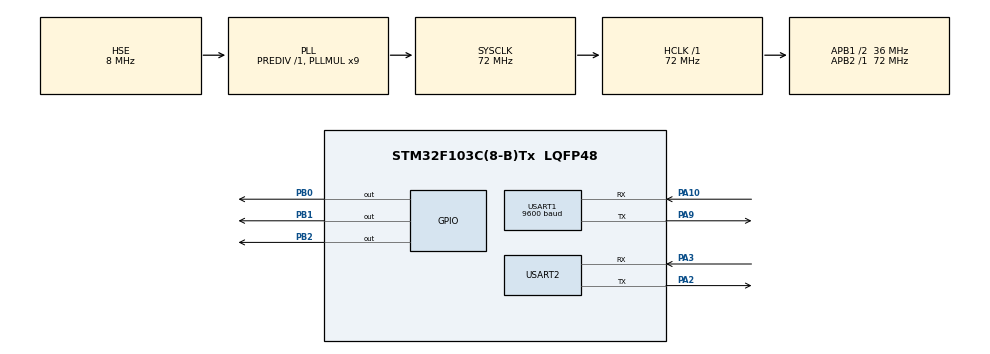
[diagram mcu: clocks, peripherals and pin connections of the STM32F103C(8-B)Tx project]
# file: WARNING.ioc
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Mcu.Family=STM32F1
Mcu.Name=STM32F103C(8-B)Tx
Mcu.Package=LQFP48
NVIC.PriorityGroup=NVIC_PRIORITYGROUP_4
PA10.Mode=Asynchronous
PA10.Signal=USART1_RX
PA13.Mode=Serial_Wire
PA13.Signal=SYS_JTMS-SWDIO
PA14.Mode=Serial_Wire
PA14.Signal=SYS_JTCK-SWCLK
PA2.Mode=Asynchronous
PA2.Signal=USART2_TX
PA3.Mode=Asynchronous
PA3.Signal=USART2_RX
PA9.Mode=Asynchronous
PA9.Signal=USART1_TX
PB0.Signal=GPIO_Output
PB1.Signal=GPIO_Output
PB2.Signal=GPIO_Output
PD0-OSC_IN.Mode=HSE-External-Oscillator
PD0-OSC_IN.Signal=RCC_OSC_IN
PD1-OSC_OUT.Mode=HSE-External-Oscillator
PD1-OSC_OUT.Signal=RCC_OSC_OUT
ProjectManager.HeapSize=0x200
ProjectManager.StackSize=0x400
ProjectManager.TargetToolchain=MDK-ARM V5.32
RCC.AHBFreq_Value=72000000
RCC.APB1CLKDivider=RCC_HCLK_DIV2
RCC.APB1Freq_Value=36000000
RCC.APB1TimFreq_Value=72000000
RCC.APB2Freq_Value=72000000
RCC.APB2TimFreq_Value=72000000
RCC.HCLKFreq_Value=72000000
RCC.PLLMUL=RCC_PLL_MUL9
RCC.PLLSourceVirtual=RCC_PLLSOURCE_HSE
RCC.SYSCLKFreq_VALUE=72000000
RCC.SYSCLKSource=RCC_SYSCLKSOURCE_PLLCLK
RCC.USBFreq_Value=72000000
USART1.BaudRate=9600
USART1.VirtualMode=VM_ASYNC
USART2.VirtualMode=VM_ASYNC
board=custom

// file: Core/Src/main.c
/* USER CODE BEGIN Header */
/**
  ******************************************************************************
  * @file           : main.c
  * @brief          : Main program body
  ******************************************************************************
  * @attention
  *
  * Copyright (c) 2026 STMicroelectronics.
  * All rights reserved.
  *
  * This software is licensed under terms that can be found in the LICENSE file
  * in the root directory of this software component.
  * If no LICENSE file is found, it is provided AS-IS.
  *
  ******************************************************************************
  */
/* USER CODE END Header */
#include "main.h"
#include "usart.h"
#include "gpio.h"

/* USER CODE BEGIN Includes */
#include "i2s_audio.h"
#include "audio_track1.h"
#include "audio_track2.h"
/* USER CODE END Includes */

/* USER CODE BEGIN PV */

#define RX_BUF_SIZE 32
#define OFFLINE_TIMEOUT_MS 3000

static uint8_t rx_buf[RX_BUF_SIZE];
static uint8_t rx_idx = 0;
static uint8_t sys_state = 0;
static uint8_t prev_state = 0xFF;
static uint32_t last_state_time = 0;
static uint32_t state_blink_timer = 0;
static uint8_t audio_playing = 0;
/* USER CODE END PV */

void SystemClock_Config(void);
/* USER CODE BEGIN PFP */
static void i2s_pins_safe(void);
static void play_audio_track1(void);
static void play_audio_track2(void);
static void parse_rx_buf(void);
static void apply_state(uint8_t state);
static void stop_all_alarm(void);
/* USER CODE END PFP */

/* USER CODE BEGIN 0 */
static void i2s_pins_safe(void)
{
    GPIO_InitTypeDef GPIO_InitStruct = {0};
    GPIO_InitStruct.Pin = GPIO_PIN_12 | GPIO_PIN_13 | GPIO_PIN_15;
    GPIO_InitStruct.Mode = GPIO_MODE_OUTPUT_PP;
    GPIO_InitStruct.Pull = GPIO_NOPULL;
    GPIO_InitStruct.Speed = GPIO_SPEED_FREQ_LOW;
    HAL_GPIO_Init(GPIOB, &GPIO_InitStruct);
    HAL_GPIO_WritePin(GPIOB, GPIO_PIN_12 | GPIO_PIN_13 | GPIO_PIN_15, GPIO_PIN_RESET);
}

static void play_audio_track1(void)
{
    audio_playing = 1;
    HAL_I2S_DeInit(&hi2s2);
    I2S_Audio_Init();
    I2S_Audio_PlayADPCM(audio_track1_adpcm, sizeof(audio_track1_adpcm), AUDIO_TRACK1_NUM_SAMPLES);
    i2s_pins_safe();
    audio_playing = 0;
}

static void play_audio_track2(void)
{
    audio_playing = 1;
    HAL_I2S_DeInit(&hi2s2);
    I2S_Audio_Init();
    I2S_Audio_PlayADPCM(audio_track2_adpcm, sizeof(audio_track2_adpcm), AUDIO_TRACK2_NUM_SAMPLES);
    i2s_pins_safe();
    audio_playing = 0;
}

static void stop_all_alarm(void)
{
    HAL_GPIO_WritePin(GPIOB, GPIO_PIN_0 | GPIO_PIN_1 | GPIO_PIN_2, GPIO_PIN_SET);
    HAL_GPIO_WritePin(GPIOC, GPIO_PIN_13, GPIO_PIN_SET);
}

static void parse_rx_buf(void)
{
    if (rx_idx == 1 && (rx_buf[0] == '0' || rx_buf[0] == '1' || rx_buf[0] == '2'))
    {
        sys_state = rx_buf[0] - '0';
        last_state_time = HAL_GetTick();
        return;
    }

    if (rx_idx < 7) return;
    if (rx_buf[0] != 'S' || rx_buf[1] != 'T' || rx_buf[2] != 'A' ||
        rx_buf[3] != 'T' || rx_buf[4] != 'E' || rx_buf[5] != ':') return;

    uint8_t code = rx_buf[6];
    if (code == '0' || code == '1' || code == '2')
    {
        sys_state = code - '0';
        last_state_time = HAL_GetTick();
    }
}

static void apply_state(uint8_t state)
{
    if (state == prev_state) return;
    prev_state = state;

    stop_all_alarm();

    if (state == 1)
    {
        state_blink_timer = HAL_GetTick();
    }
    else if (state == 2)
    {
        state_blink_timer = HAL_GetTick();
    }
}
/* USER CODE END 0 */

int main(void)
{

  /* MCU Configuration--------------------------------------------------------*/

  /* Reset of all peripherals, Initializes the Flash interface and the Systick. */
  HAL_Init();

  /* Configure the system clock */
  SystemClock_Config();

  /* Initialize all configured peripherals */
  MX_GPIO_Init();
  MX_USART1_UART_Init();
  MX_USART2_UART_Init();
  /* USER CODE BEGIN 2 */
  I2S_Audio_Init();
  i2s_pins_safe();
  HAL_GPIO_WritePin(GPIOB, GPIO_PIN_0 | GPIO_PIN_1 | GPIO_PIN_2, GPIO_PIN_SET);

  __HAL_UART_DISABLE_IT(&huart2, UART_IT_RXNE);
  __HAL_UART_DISABLE_IT(&huart2, UART_IT_PE);
  __HAL_UART_DISABLE_IT(&huart2, UART_IT_ERR);
  HAL_NVIC_DisableIRQ(USART2_IRQn);

  if (__HAL_UART_GET_FLAG(&huart2, UART_FLAG_ORE))
      __HAL_UART_CLEAR_OREFLAG(&huart2);
  if (__HAL_UART_GET_FLAG(&huart2, UART_FLAG_FE))
      __HAL_UART_CLEAR_FEFLAG(&huart2);
  if (__HAL_UART_GET_FLAG(&huart2, UART_FLAG_NE))
      __HAL_UART_CLEAR_NEFLAG(&huart2);
  if (__HAL_UART_GET_FLAG(&huart2, UART_FLAG_PE))
      __HAL_UART_CLEAR_PEFLAG(&huart2);

  {
      uint32_t poweron_start = HAL_GetTick();
      while ((HAL_GetTick() - poweron_start) < 5000)
      {
          HAL_GPIO_WritePin(GPIOC, GPIO_PIN_13, GPIO_PIN_RESET);
          HAL_Delay(200);
          HAL_GPIO_WritePin(GPIOC, GPIO_PIN_13, GPIO_PIN_SET);
          HAL_Delay(800);
      }
      HAL_GPIO_WritePin(GPIOC, GPIO_PIN_13, GPIO_PIN_SET);
  }
  /* USER CODE END 2 */

  /* Infinite loop */
  while (1)
  {

    /* USER CODE BEGIN 3 */
    if (USART2->SR & (USART_SR_ORE | USART_SR_FE | USART_SR_NE | USART_SR_PE))
    {
        volatile uint32_t tmp_sr = USART2->SR;
        volatile uint32_t tmp_dr = USART2->DR;
        (void)tmp_sr;
        (void)tmp_dr;
    }

    if (USART2->SR & USART_SR_RXNE)
    {
        uint8_t ch = (uint8_t)(USART2->DR & 0xFF);

        if (ch == '\n' || ch == '\r')
        {
            if (rx_idx > 0)
            {
                parse_rx_buf();
                rx_idx = 0;
            }
        }
        else
        {
            if (rx_idx < RX_BUF_SIZE - 1)
            {
                rx_buf[rx_idx++] = ch;
            }
            else
            {
                rx_idx = 0;
            }
        }
    }

    if (last_state_time > 0 && (HAL_GetTick() - last_state_time) > OFFLINE_TIMEOUT_MS)
    {
        sys_state = 0;
        last_state_time = 0;
    }

    apply_state(sys_state);

    if (sys_state == 1)
    {
        if (!audio_playing)
        {
            play_audio_track1();
        }

        uint32_t elapsed = HAL_GetTick() - state_blink_timer;
        if (elapsed < 500)
        {
            HAL_GPIO_WritePin(GPIOC, GPIO_PIN_13, GPIO_PIN_RESET);
        }
        else if (elapsed < 1000)
        {
            HAL_GPIO_WritePin(GPIOC, GPIO_PIN_13, GPIO_PIN_SET);
        }
        else if (elapsed < 6000)
        {
            HAL_GPIO_WritePin(GPIOC, GPIO_PIN_13, GPIO_PIN_SET);
        }
        else
        {
            state_blink_timer = HAL_GetTick();
        }

        HAL_GPIO_WritePin(GPIOB, GPIO_PIN_0 | GPIO_PIN_1 | GPIO_PIN_2, GPIO_PIN_RESET);
        HAL_Delay(200);
        HAL_GPIO_WritePin(GPIOB, GPIO_PIN_0 | GPIO_PIN_1 | GPIO_PIN_2, GPIO_PIN_SET);
        HAL_Delay(800);
    }
    else if (sys_state == 2)
    {
        if (!audio_playing)
        {
            play_audio_track2();
        }

        uint32_t elapsed = HAL_GetTick() - state_blink_timer;
        if (elapsed < 250)
        {
            HAL_GPIO_WritePin(GPIOC, GPIO_PIN_13, GPIO_PIN_RESET);
        }
        else if (elapsed < 500)
        {
            HAL_GPIO_WritePin(GPIOC, GPIO_PIN_13, GPIO_PIN_SET);
        }
        else if (elapsed < 750)
        {
            HAL_GPIO_WritePin(GPIOC, GPIO_PIN_13, GPIO_PIN_RESET);
        }
        else if (elapsed < 1000)
        {
            HAL_GPIO_WritePin(GPIOC, GPIO_PIN_13, GPIO_PIN_SET);
        }
        else if (elapsed < 6000)
        {
            HAL_GPIO_WritePin(GPIOC, GPIO_PIN_13, GPIO_PIN_SET);
        }
        else
        {
            state_blink_timer = HAL_GetTick();
        }

        HAL_GPIO_WritePin(GPIOB, GPIO_PIN_0 | GPIO_PIN_1 | GPIO_PIN_2, GPIO_PIN_RESET);
        HAL_Delay(100);
        HAL_GPIO_WritePin(GPIOB, GPIO_PIN_0 | GPIO_PIN_1 | GPIO_PIN_2, GPIO_PIN_SET);
        HAL_Delay(100);
    }
  }
  /* USER CODE END 3 */
}

void SystemClock_Config(void)
{
  RCC_OscInitTypeDef RCC_OscInitStruct = {0};
  RCC_ClkInitTypeDef RCC_ClkInitStruct = {0};

  /** Initializes the RCC Oscillators according to the specified parameters
  * in the RCC_OscInitTypeDef structure.
  */
  RCC_OscInitStruct.OscillatorType = RCC_OSCILLATORTYPE_HSE;
  RCC_OscInitStruct.HSEState = RCC_HSE_ON;
  RCC_OscInitStruct.HSEPredivValue = RCC_HSE_PREDIV_DIV1;
  RCC_OscInitStruct.HSIState = RCC_HSI_ON;
  RCC_OscInitStruct.PLL.PLLState = RCC_PLL_ON;
  RCC_OscInitStruct.PLL.PLLSource = RCC_PLLSOURCE_HSE;
  RCC_OscInitStruct.PLL.PLLMUL = RCC_PLL_MUL9;
  if (HAL_RCC_OscConfig(&RCC_OscInitStruct) != HAL_OK)
  {
    Error_Handler();
  }

  /** Initializes the CPU, AHB and APB buses clocks
  */
  RCC_ClkInitStruct.ClockType = RCC_CLOCKTYPE_HCLK|RCC_CLOCKTYPE_SYSCLK
                              |RCC_CLOCKTYPE_PCLK1|RCC_CLOCKTYPE_PCLK2;
  RCC_ClkInitStruct.SYSCLKSource = RCC_SYSCLKSOURCE_PLLCLK;
  RCC_ClkInitStruct.AHBCLKDivider = RCC_SYSCLK_DIV1;
  RCC_ClkInitStruct.APB1CLKDivider = RCC_HCLK_DIV2;
  RCC_ClkInitStruct.APB2CLKDivider = RCC_HCLK_DIV1;

  if (HAL_RCC_ClockConfig(&RCC_ClkInitStruct, FLASH_LATENCY_2) != HAL_OK)
  {
    Error_Handler();
  }
}

void Error_Handler(void)
{
  __disable_irq();
  while (1)
  {
  }
}

#ifdef  USE_FULL_ASSERT
/**
  * @brief  Reports the name of the source file where the assert_param error occurred.
  * @param  file: pointer to the source file name
  * @param  line: assert_param error line number
  * @retval None
  */
void assert_failed(uint8_t *file, uint32_t line)
{
  /* USER CODE BEGIN 6 */
  /* User can add your own implementation to report the file name and line number,
     ex: printf("Wrong parameters value: file %s on line %d\r\n", file, line) */
  /* USER CODE END 6 */
}
#endif /* USE_FULL_ASSERT */
